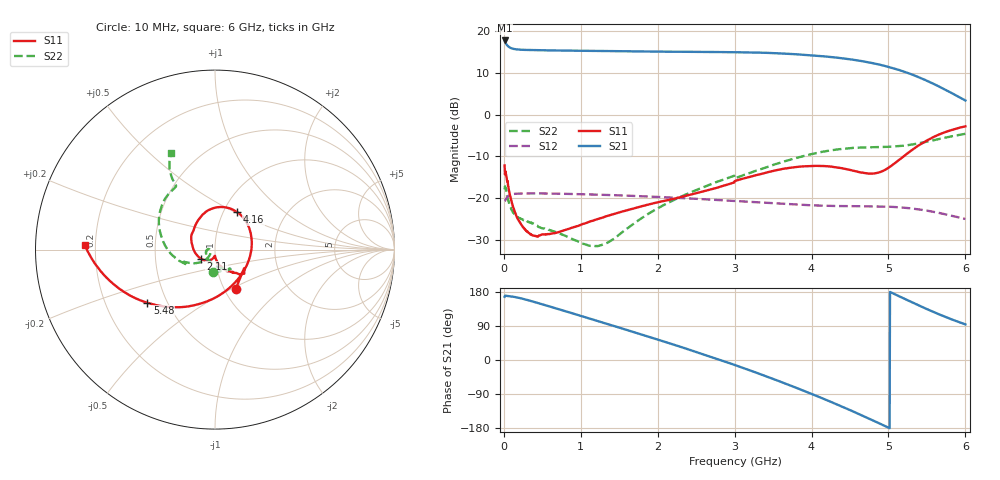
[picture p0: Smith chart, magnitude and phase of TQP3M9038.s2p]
! TriQuint Semiconductor
! TQP3M9038 High Linearity LNA Gain Block
! 16 pins 3x3 mm QFN Package
! The data is for the unmatched device in a 50 Ohm system, 2-port file de-embedded to the device leads.
! Device bias: +5V @ 86 mA Icq
! Temperature: 25C
! Lot Code: N/A
!  Port 1 corresponds to Pin 2 (RF input)
!  Port 2 corresponds to Pin 11 (RF output)
!Agilent Technologies,N5242A,MY47200126,A.09.80.03
!Agilent N5242A: A.09.80.03
!Date: Friday, November 16, 2012 15:25:08
!Correction: S11(Full 2 Port(1,3))
!S31(Full 2 Port(1,3))
!S13(Full 2 Port(1,3))
!S33(Full 2 Port(1,3))
!S2P File: Measurements: S11, S31, S13, S33:
# Hz S  dB  R 50
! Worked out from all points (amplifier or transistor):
!   1199 points, 10 MHz to 6 GHz, reference 50 ohm
!   highest |S21| = 17.7 dB at 10 MHz (marker M1)
!   |S21| within 3 dB of that: start of sweep to 3.463 GHz
!   unconditionally stable (mu >= 1): 11.81 MHz to end of sweep
!   at 1.005 GHz: K = 1.09, MAG = 15.3 dB, |S12| = -19.0 dB
!   at 3.005 GHz: K = 1.19, MAG = 15.2 dB, |S12| = -20.6 dB
!   at 6 GHz: K = 2.16, MAG = 8.0 dB, |S12| = -24.9 dB
!   S11 on the Smith chart (normalised r, x): 10 MHz: 1.13, -0.53; 2.11 GHz: 0.85, -0.08; 4.16 GHz: 1.15, +0.52; 5.48 GHz: 0.39, -0.30; 6 GHz: 0.16, +0.02
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1e7  -12.15 -61.9  17.72 167.0  -20.64 12.1  -17.88 -94.7
6e7  -17.30 -61.2  16.27 168.6  -19.38 5.4  -20.58 -85.3
1.1e8  -21.35 -75.0  15.79 167.3  -19.00 1.0  -23.04 -116.1
5.8e8  -28.58 -93.7  15.35 142.2  -18.86 -21.4  -27.52 179.2
1.01e9  -26.23 -102.3  15.26 115.9  -19.02 -38.6  -30.72 -179.9
1.505e9  -23.34 -117.8  15.16 85.2  -19.30 -58.5  -28.59 -137.0
2.01e9  -20.93 -142.3  15.06 53.2  -19.68 -79.4  -22.31 -132.9
2.11e9  -20.52 -148.2  15.04 46.8  -19.76 -83.6  -21.32 -134.6
2.58e9  -18.41 179.3  14.98 16.0  -20.20 -104.0  -17.44 -145.5
3.005e9  -15.87 137.5  14.92 -13.3  -20.63 -123.1  -15.18 -151.1
3.275e9  -14.50 119.8  14.83 -32.9  -20.92 -135.7  -13.43 -164.0
3.555e9  -13.23 102.6  14.66 -54.1  -21.23 -149.0  -11.70 -178.7
3.785e9  -12.55 87.4  14.44 -72.1  -21.48 -159.9  -10.44 168.6
4.005e9  -12.26 71.9  14.16 -89.9  -21.66 -170.6  -9.41 157.0
4.16e9  -12.29 59.8  13.92 -102.7  -21.76 -178.3  -8.82 149.1
4.365e9  -12.70 40.3  13.54 -120.2  -21.85 171.2  -8.26 139.6
4.615e9  -13.72 6.7  12.89 -142.5  -21.89 157.4  -7.88 129.9
4.81e9  -14.06 -30.8  12.24 -160.5  -21.92 145.8  -7.78 124.7
5.005e9  -12.64 -72.6  11.39 -179.0  -22.01 133.3  -7.69 121.9
5.25e9  -9.22 -114.3  9.96 157.6  -22.32 116.7  -7.30 121.1
5.48e9  -6.38 -141.8  8.25 136.1  -22.88 100.9  -6.54 120.9
6e9  -2.80 178.2  3.38 94.0  -24.92 69.4  -4.59 114.5
